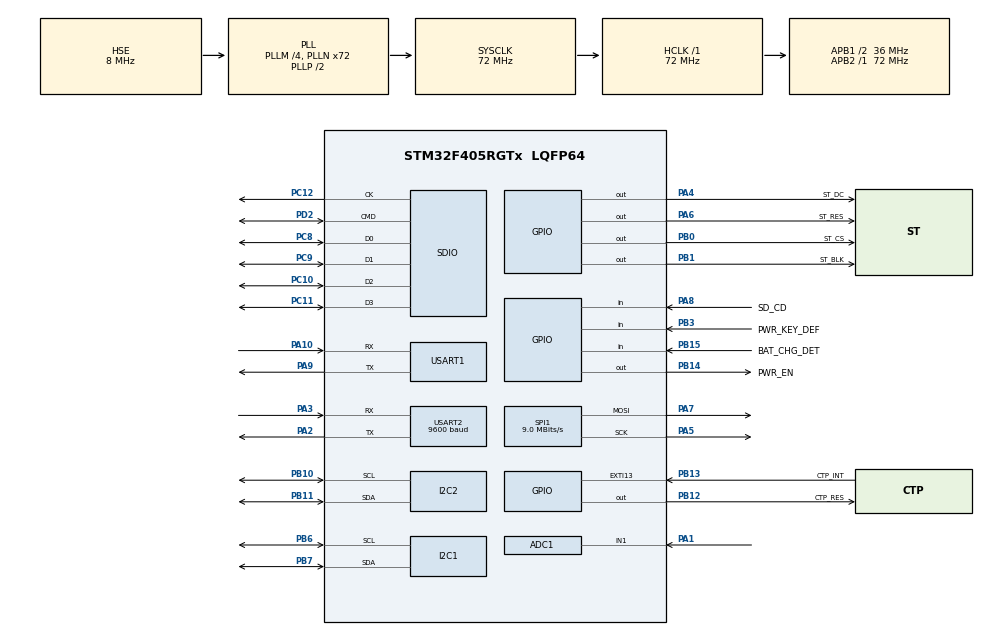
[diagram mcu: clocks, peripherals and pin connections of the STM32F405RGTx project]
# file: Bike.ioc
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ADC1.Channel-0\#ChannelRegularConversion=ADC_CHANNEL_1
ADC1.ContinuousConvMode=ENABLE
ADC1.NbrOfConversionFlag=1
ADC1.Rank-0\#ChannelRegularConversion=1
ADC1.SamplingTime-0\#ChannelRegularConversion=ADC_SAMPLETIME_15CYCLES
ADC1.master=1
Dma.Request0=SPI1_TX
Dma.Request1=SDIO
Dma.SDIO.1.Direction=DMA_PERIPH_TO_MEMORY
Dma.SDIO.1.FIFOMode=DMA_FIFOMODE_ENABLE
Dma.SDIO.1.FIFOThreshold=DMA_FIFO_THRESHOLD_FULL
Dma.SDIO.1.Instance=DMA2_Stream6
Dma.SDIO.1.MemBurst=DMA_MBURST_INC4
Dma.SDIO.1.MemDataAlignment=DMA_MDATAALIGN_WORD
Dma.SDIO.1.MemInc=DMA_MINC_ENABLE
Dma.SDIO.1.Mode=DMA_PFCTRL
Dma.SDIO.1.PeriphBurst=DMA_PBURST_INC4
Dma.SDIO.1.PeriphDataAlignment=DMA_PDATAALIGN_WORD
Dma.SDIO.1.PeriphInc=DMA_PINC_DISABLE
Dma.SDIO.1.Priority=DMA_PRIORITY_LOW
Dma.SPI1_TX.0.Direction=DMA_MEMORY_TO_PERIPH
Dma.SPI1_TX.0.FIFOMode=DMA_FIFOMODE_DISABLE
Dma.SPI1_TX.0.Instance=DMA2_Stream3
Dma.SPI1_TX.0.MemDataAlignment=DMA_MDATAALIGN_HALFWORD
Dma.SPI1_TX.0.MemInc=DMA_MINC_ENABLE
Dma.SPI1_TX.0.Mode=DMA_NORMAL
Dma.SPI1_TX.0.PeriphDataAlignment=DMA_PDATAALIGN_HALFWORD
Dma.SPI1_TX.0.PeriphInc=DMA_PINC_DISABLE
Dma.SPI1_TX.0.Priority=DMA_PRIORITY_LOW
FATFS.BSP.number=1
FATFS0.BSP.STBoard=false
FATFS0.BSP.api=Unknown
FATFS0.BSP.instance=PA8
FATFS0.BSP.ip=GPIO
FATFS0.BSP.mode=Input
FATFS0.BSP.name=Detect_SDIO
FATFS0.BSP.solution=PA8
FREERTOS.Tasks01=mainTask,24,4096,MainTaskFunc,Default,NULL,Dynamic,NULL,NULL;powerTask,8,256,PowerTaskFunc,Default,NULL,Dynamic,NULL,NULL;gpsTask,16,512,GPSTaskFunc,Default,NULL,Dynamic,NULL,NULL;slopeTask,15,256,slopeTaskFunc,Default,NULL,Dynamic,NULL,NULL
FREERTOS.configTOTAL_HEAP_SIZE=40960
I2C1.I2C_Mode=I2C_Fast
I2C2.I2C_Mode=I2C_Fast
Mcu.Family=STM32F4
Mcu.Name=STM32F405RGTx
Mcu.Package=LQFP64
NVIC.DMA2_Stream3_IRQn=true\:5\:0\:false\:false\:true\:true\:false\:true\:true
NVIC.DMA2_Stream6_IRQn=true\:5\:0\:false\:false\:true\:true\:false\:true\:true
NVIC.EXTI15_10_IRQn=true\:5\:0\:false\:false\:true\:true\:true\:true\:true
NVIC.PriorityGroup=NVIC_PRIORITYGROUP_4
NVIC.TIM7_IRQn=true\:15\:0\:false\:false\:true\:false\:false\:true\:true
NVIC.TimeBase=TIM7_IRQn
NVIC.TimeBaseIP=TIM7
NVIC.USART2_IRQn=true\:5\:0\:false\:false\:true\:true\:true\:true\:true
PA1.Signal=ADCx_IN1
PA10.Mode=Asynchronous
PA10.Signal=USART1_RX
PA13.Mode=Serial_Wire
PA13.Signal=SYS_JTMS-SWDIO
PA14.Mode=Serial_Wire
PA14.Signal=SYS_JTCK-SWCLK
PA2.Mode=Asynchronous
PA2.Signal=USART2_TX
PA3.Mode=Asynchronous
PA3.Signal=USART2_RX
PA4.GPIO_Label=ST_DC
PA4.GPIO_Speed=GPIO_SPEED_FREQ_HIGH
PA4.Signal=GPIO_Output
PA5.Mode=TX_Only_Simplex_Unidirect_Master
PA5.Signal=SPI1_SCK
PA6.GPIO_Label=ST_RES
PA6.GPIO_Speed=GPIO_SPEED_FREQ_HIGH
PA6.PinState=GPIO_PIN_SET
PA6.Signal=GPIO_Output
PA7.Mode=TX_Only_Simplex_Unidirect_Master
PA7.Signal=SPI1_MOSI
PA8.GPIO_Label=SD_CD
PA8.GPIO_PuPd=GPIO_PULLUP
PA8.Signal=GPIO_Input
PA9.Mode=Asynchronous
PA9.Signal=USART1_TX
PB0.GPIO_Label=ST_CS
PB0.GPIO_Speed=GPIO_SPEED_FREQ_HIGH
PB0.PinState=GPIO_PIN_SET
PB0.Signal=GPIO_Output
PB1.GPIO_Label=ST_BLK
PB1.GPIO_Speed=GPIO_SPEED_FREQ_HIGH
PB1.PinState=GPIO_PIN_SET
PB1.Signal=GPIO_Output
PB10.Mode=I2C
PB10.Signal=I2C2_SCL
PB11.Mode=I2C
PB11.Signal=I2C2_SDA
PB12.GPIO_Label=CTP_RES
PB12.GPIO_Speed=GPIO_SPEED_FREQ_HIGH
PB12.PinState=GPIO_PIN_SET
PB12.Signal=GPIO_Output
PB13.GPIO_Label=CTP_INT
PB13.GPIO_PuPd=GPIO_PULLDOWN
PB13.Signal=GPXTI13
PB14.GPIO_Label=PWR_EN
PB14.GPIO_Speed=GPIO_SPEED_FREQ_HIGH
PB14.PinState=GPIO_PIN_SET
PB14.Signal=GPIO_Output
PB15.GPIO_Label=BAT_CHG_DET
PB15.GPIO_PuPd=GPIO_PULLUP
PB15.Signal=GPIO_Input
PB3.GPIO_Label=PWR_KEY_DEF
PB3.GPIO_PuPd=GPIO_PULLUP
PB3.Signal=GPIO_Input
PB6.Mode=I2C
PB6.Signal=I2C1_SCL
PB7.Mode=I2C
PB7.Signal=I2C1_SDA
PC10.Mode=SD_4_bits_Wide_bus
PC10.Signal=SDIO_D2
PC11.Mode=SD_4_bits_Wide_bus
PC11.Signal=SDIO_D3
PC12.Mode=SD_4_bits_Wide_bus
PC12.Signal=SDIO_CK
PC14-OSC32_IN.Mode=LSE-External-Oscillator
PC14-OSC32_IN.Signal=RCC_OSC32_IN
PC15-OSC32_OUT.Mode=LSE-External-Oscillator
PC15-OSC32_OUT.Signal=RCC_OSC32_OUT
PC8.Mode=SD_4_bits_Wide_bus
PC8.Signal=SDIO_D0
PC9.Mode=SD_4_bits_Wide_bus
PC9.Signal=SDIO_D1
PD2.Mode=SD_4_bits_Wide_bus
PD2.Signal=SDIO_CMD
PH0-OSC_IN.Mode=HSE-External-Oscillator
PH0-OSC_IN.Signal=RCC_OSC_IN
PH1-OSC_OUT.Mode=HSE-External-Oscillator
PH1-OSC_OUT.Signal=RCC_OSC_OUT
ProjectManager.HeapSize=0x3000
ProjectManager.StackSize=0x4000
ProjectManager.TargetToolchain=MDK-ARM V5.32
RCC.48MHZClocksFreq_Value=48000000
RCC.AHBFreq_Value=72000000
RCC.APB1CLKDivider=RCC_HCLK_DIV2
RCC.APB1Freq_Value=36000000
RCC.APB1TimFreq_Value=72000000
RCC.APB2Freq_Value=72000000
RCC.APB2TimFreq_Value=72000000
RCC.CortexFreq_Value=72000000
RCC.HCLKFreq_Value=72000000
RCC.HSE_VALUE=8000000
RCC.HSI_VALUE=16000000
RCC.PLLM=4
RCC.PLLN=72
RCC.PLLQ=3
RCC.PLLSourceVirtual=RCC_PLLSOURCE_HSE
RCC.SYSCLKFreq_VALUE=72000000
RCC.SYSCLKSource=RCC_SYSCLKSOURCE_PLLCLK
RCC.VCOOutputFreq_Value=144000000
SDIO.ClockDiv=6
SDIO.HardwareFlowControl=SDIO_HARDWARE_FLOW_CONTROL_ENABLE
SH.ADCx_IN1.0=ADC1_IN1,IN1
SPI1.BaudRatePrescaler=SPI_BAUDRATEPRESCALER_8
SPI1.CalculateBaudRate=9.0 MBits/s
SPI1.Direction=SPI_DIRECTION_2LINES
SPI1.Mode=SPI_MODE_MASTER
SPI1.VirtualType=VM_MASTER
USART1.VirtualMode=VM_ASYNC
USART2.BaudRate=9600
USART2.VirtualMode=VM_ASYNC
VP_FATFS_VS_SDIO.Mode=SDIO
VP_FREERTOS_VS_CMSIS_V2.Mode=CMSIS_V2
VP_SYS_VS_tim7.Mode=TIM7
board=custom

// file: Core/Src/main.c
/* USER CODE BEGIN Header */
/**
  ******************************************************************************
  * @file           : main.c
  * @brief          : Main program body
  ******************************************************************************
  * @attention
  *
  * Copyright (c) 2026 STMicroelectronics.
  * All rights reserved.
  *
  * This software is licensed under terms that can be found in the LICENSE file
  * in the root directory of this software component.
  * If no LICENSE file comes with this software, it is provided AS-IS.
  *
  ******************************************************************************
  */
/* USER CODE END Header */
#include "main.h"
#include "cmsis_os.h"
#include "adc.h"
#include "dma.h"
#include "fatfs.h"
#include "i2c.h"
#include "sdio.h"
#include "spi.h"
#include "usart.h"
#include "gpio.h"

void SystemClock_Config(void);
void MX_FREERTOS_Init(void);

int main(void)
{

  /* MCU Configuration--------------------------------------------------------*/

  /* Reset of all peripherals, Initializes the Flash interface and the Systick. */
  HAL_Init();

  /* Configure the system clock */
  SystemClock_Config();

  /* Initialize all configured peripherals */
  MX_GPIO_Init();
  MX_DMA_Init();
  MX_USART1_UART_Init();
  MX_I2C2_Init();
  MX_SPI1_Init();
  MX_SDIO_SD_Init();
  MX_FATFS_Init();
  MX_ADC1_Init();
  MX_USART2_UART_Init();
  MX_I2C1_Init();

  /* Init scheduler */
  osKernelInitialize();  /* Call init function for freertos objects (in cmsis_os2.c) */
  MX_FREERTOS_Init();

  /* Start scheduler */
  osKernelStart();

  /* We should never get here as control is now taken by the scheduler */

  /* Infinite loop */
  while (1)
  {

  }
}

void SystemClock_Config(void)
{
  RCC_OscInitTypeDef RCC_OscInitStruct = {0};
  RCC_ClkInitTypeDef RCC_ClkInitStruct = {0};

  /** Configure the main internal regulator output voltage
  */
  __HAL_RCC_PWR_CLK_ENABLE();
  __HAL_PWR_VOLTAGESCALING_CONFIG(PWR_REGULATOR_VOLTAGE_SCALE1);

  /** Initializes the RCC Oscillators according to the specified parameters
  * in the RCC_OscInitTypeDef structure.
  */
  RCC_OscInitStruct.OscillatorType = RCC_OSCILLATORTYPE_HSE;
  RCC_OscInitStruct.HSEState = RCC_HSE_ON;
  RCC_OscInitStruct.PLL.PLLState = RCC_PLL_ON;
  RCC_OscInitStruct.PLL.PLLSource = RCC_PLLSOURCE_HSE;
  RCC_OscInitStruct.PLL.PLLM = 4;
  RCC_OscInitStruct.PLL.PLLN = 72;
  RCC_OscInitStruct.PLL.PLLP = RCC_PLLP_DIV2;
  RCC_OscInitStruct.PLL.PLLQ = 3;
  if (HAL_RCC_OscConfig(&RCC_OscInitStruct) != HAL_OK)
  {
    Error_Handler();
  }

  /** Initializes the CPU, AHB and APB buses clocks
  */
  RCC_ClkInitStruct.ClockType = RCC_CLOCKTYPE_HCLK|RCC_CLOCKTYPE_SYSCLK
                              |RCC_CLOCKTYPE_PCLK1|RCC_CLOCKTYPE_PCLK2;
  RCC_ClkInitStruct.SYSCLKSource = RCC_SYSCLKSOURCE_PLLCLK;
  RCC_ClkInitStruct.AHBCLKDivider = RCC_SYSCLK_DIV1;
  RCC_ClkInitStruct.APB1CLKDivider = RCC_HCLK_DIV2;
  RCC_ClkInitStruct.APB2CLKDivider = RCC_HCLK_DIV1;

  if (HAL_RCC_ClockConfig(&RCC_ClkInitStruct, FLASH_LATENCY_2) != HAL_OK)
  {
    Error_Handler();
  }
}

void HAL_TIM_PeriodElapsedCallback(TIM_HandleTypeDef *htim)
{
  if (htim->Instance == TIM7)
  {
    HAL_IncTick();
  }
}

void Error_Handler(void)
{
  __disable_irq();
  while (1)
  {
  }
}

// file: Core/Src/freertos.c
/* USER CODE BEGIN Header */
/**
 ******************************************************************************
 * File Name          : freertos.c
 * Description        : Code for freertos applications
 ******************************************************************************
 * @attention
 *
 * Copyright (c) 2026 STMicroelectronics.
 * All rights reserved.
 *
 * This software is licensed under terms that can be found in the LICENSE file
 * in the root directory of this software component.
 * If no LICENSE file comes with this software, it is provided AS-IS.
 *
 ******************************************************************************
 */
/* USER CODE END Header */

#include "FreeRTOS.h"
#include "task.h"
#include "main.h"
#include "cmsis_os.h"

/* USER CODE BEGIN Includes */
#include "Com_Debug.h"
#include "Int_CST6189.h"
#include "lvgl.h"
#include "lv_port_disp.h"
#include "lv_port_indev.h"
// #include "demos/lv_demos.h"
#include "ui.h"
#include "fatfs.h"
#include "Int_Power.h"
#include "Int_ATGM336H.h"
#include "Int_LSM6DSM.h"

/* USER CODE END Includes */

/* USER CODE BEGIN PD */
bool charge = false;
float v = 0.0f;

/**
 * @brief 更新lvgl的电池电量图标
 *
 * @param args
 */
void update_battery_callback(void *args)
{
  ui_updateBattery(charge, v);
}

// 卫星个数
uint8_t saleNum = 0;
// 存储经纬度数据信息
float lon = 0.0f, lat = 0.0f;
char lonDir = 0, latDir = 0;
// 存储速度信息
float speed = 0.0f, distance = 0.0f;
// 骑行时间
int time = 0;

/**
 * @brief 更新lvgl的骑行数据
 *
 * @param args
 */
void update_bike_cb(void *args)
{
  // 更新卫星个数
  lv_subject_set_int(&saleNumSubject, saleNum);

  // 更新骑行速度
  lv_subject_set_float(&speedSubject, speed);

  // 更新骑行距离
  lv_subject_set_float(&distanceSubject, distance);

  // 更新经纬度
  lv_subject_set_float(&lonSubject, lon);
  lv_subject_set_float(&latSubject, lat);

  // 骑行时间
  char timestr[9] = {0};
  sprintf(timestr, "%d : %d", time / 60, time % 60);
  lv_subject_copy_string(&timeSubject, timestr);

  // 更新运动状态
  ui_updateBikeState(speed);

  // 根据经纬度更新用户地图中的位置【考试】
  ui_updateLocation(lat, lon);
}

// 坡度百分比
float slope_percentage = 0.0f;
/**
 * @brief 更新坡度
 *
 * @param args
 */
void update_slope(void *args)
{
  // 把当前计算出来的坡度值 slope_percentage 写入 LVGL 的 subject 数据源 slopeSubject
  lv_subject_set_float(&slopeSubject, slope_percentage);
}

/* USER CODE END PD */

/* Definitions for mainTask */
osThreadId_t mainTaskHandle;
const osThreadAttr_t mainTask_attributes = {
    .name = "mainTask",
    .stack_size = 4096 * 4,
    .priority = (osPriority_t)osPriorityNormal,
};
/* Definitions for powerTask */
osThreadId_t powerTaskHandle;
const osThreadAttr_t powerTask_attributes = {
    .name = "powerTask",
    .stack_size = 256 * 4,
    .priority = (osPriority_t)osPriorityLow,
};
/* Definitions for gpsTask */
osThreadId_t gpsTaskHandle;
const osThreadAttr_t gpsTask_attributes = {
    .name = "gpsTask",
    .stack_size = 512 * 4,
    .priority = (osPriority_t)osPriorityBelowNormal,
};
/* Definitions for slopeTask */
osThreadId_t slopeTaskHandle;
const osThreadAttr_t slopeTask_attributes = {
    .name = "slopeTask",
    .stack_size = 256 * 4,
    .priority = (osPriority_t)osPriorityLow7,
};

void MainTaskFunc(void *argument);
void PowerTaskFunc(void *argument);
void GPSTaskFunc(void *argument);
void slopeTaskFunc(void *argument);

void MX_FREERTOS_Init(void); /* (MISRA C 2004 rule 8.1) */

void MX_FREERTOS_Init(void)
{

  /* Create the thread(s) */
  /* creation of mainTask */
  mainTaskHandle = osThreadNew(MainTaskFunc, NULL, &mainTask_attributes);

  /* creation of powerTask */
  powerTaskHandle = osThreadNew(PowerTaskFunc, NULL, &powerTask_attributes);

  /* creation of gpsTask */
  gpsTaskHandle = osThreadNew(GPSTaskFunc, NULL, &gpsTask_attributes);

  /* creation of slopeTask */
  slopeTaskHandle = osThreadNew(slopeTaskFunc, NULL, &slopeTask_attributes);

}

void MainTaskFunc(void *argument)
{
  /* USER CODE BEGIN MainTaskFunc */
  /* Infinite loop */

  // 挂载文件系统
  FRESULT mount_res = f_mount(&SDFatFS, SDPath, 1);
  COM_DEBUG_LN("f_mount(%s) = %d", SDPath, mount_res);

  // 1. 初始化LVGL
  lv_init();

  // 设置获取当前时间回调
  lv_tick_set_cb(xTaskGetTickCount);
  // 设置延时回调
  lv_delay_set_cb(vTaskDelay);

  // 2. 初始化输入，显示设备
  lv_port_disp_init();
  lv_port_indev_init();

  // 3. 创建UI
  // lv_demo_widgets();
  ui_create();

  // uint16_t x = 0, y = 0;
  for (;;)
  {
    // if (Int_CST816D_IsPressed())
    // {
    //   Int_CST816D_GetXY(&x, &y);
    //   COM_DEBUG_LN("x == %d, y == %d", x, y);
    // }

    // 下一次循环等待的时间
    uint32_t tm = lv_timer_handler();
    if (tm < 5)
    {
      tm = 5;
    }

    osDelay(tm);
  }
  /* USER CODE END MainTaskFunc */
}

void PowerTaskFunc(void *argument)
{
  /* USER CODE BEGIN PowerTaskFunc */
  /* Infinite loop */
  Int_Power_Init();

  for (;;)
  {
    // 等待电源按键按下
    if (Int_Power_PowerKeyIsPressed())
    {
      // 关闭电源
      Int_Power_PowerOFF();
    }

    // 判断电池是否在充电
    charge = Int_Power_IsCharge();
    // 获取电池电压值
    v = Int_Power_GetV();

    // 采用异步更新，放置多个任务同时对lvgl操作引发的线程不安全问题
    lv_async_call(update_battery_callback, NULL);

    // COM_DEBUG_LN("charge == %d, v == %f", charge ? 1 : 0, v);

    osDelay(10);
  }
  /* USER CODE END PowerTaskFunc */
}

void GPSTaskFunc(void *argument)
{
  /* USER CODE BEGIN GPSTaskFunc */
  /* Infinite loop */

  // 存储GPS接收到的数据
  char *str = NULL;
  // 存储经纬度数据是否有效
  char activityFlag = 0;

  Int_ATGM336H_Init();

  // 上一次时间记录
  TickType_t lastTime = xTaskGetTickCount(), currentTime = 0;
  for (;;)
  {
    if (gps_sizes > 0)
    {
      // COM_DEBUG_LN("gps_len: %d", gps_sizes);
      // COM_DEBUG_LN("gps_data: %s", gps_buffers);

      // 解析卫星个数
      str = strstr((char *)gps_buffers, "GNGGA");
      if (str != NULL)
      {
        // $GNGGA,070822.000,4006.81888,N,11621.89413,E,1,05,25.5,30.2,M,-9.6,M,,*58
        sscanf(str, "%*[^,],%*[^,],%*[^,],%*[^,],%*[^,],%*[^,],%*[^,],%hhu", &saleNum);
        // COM_DEBUG_LN("num = %hhu", saleNum);
      }

      str = strstr((char *)gps_buffers, "GNRMC");
      if (str != NULL)
      {
        // 解析数据状态
        sscanf(str, "%*[^AV]%c", &activityFlag);
        COM_DEBUG_LN("[[%c]]", activityFlag);

        if (activityFlag == 'A')
        {
          // 有效数据，解析经纬度，经纬度方向，速度
          // $GNRMC,070822.000,A,4006.81888,N,11621.89413,E,0.81,359.02,020624,,,A,V*02
          sscanf(str, "%*[^A]A,%f,%c,%f,%c,%f", &lat, &latDir, &lon, &lonDir, &speed);

          // 将经纬度格式转化为°格式
          // 维度xxyy.yyy xx代表° yy.yyy代表′ 需要转化zz.ppp°
          lat = (int16_t)lat / 100 + (lat - ((int16_t)lat / 100) * 100) / 60;
          // 经度xxxyy.yyy xxx代表° yy.yyy代表′ 需要转化zzz.ppp°
          lon = (int16_t)lon / 100 + (lon - ((int16_t)lon / 100) * 100) / 60;

          // 南维和西经是负值
          if (latDir == 'S')
          {
            lat = -lat;
          }
          if (lonDir == 'W')
          {
            lon = -lon;
          }

          // 固定测试位置：深圳西部硅谷。
          // 这里直接使用用户取点坐标，避免再次转换后红点向右下偏移。
          lat = 22.626121f;
          lon = 113.837692f;

          // 实测当前离线瓦片与该取点坐标直接匹配，不再二次转换。
          // gps_to_gcj02(lat, lon, &lat, &lon);

          // 转换速度的单位
          speed *= 1.852f;

          // 获取当前时间
          currentTime = xTaskGetTickCount();
          // 一轮的骑行时间
          uint32_t sec = (currentTime - lastTime) / 1000;
          // 一轮的骑行里程
          distance += speed * (sec * 1.0 / 3600);
          // 总的骑行时间（s）
          time += sec;
          // 更新上一次时间
          lastTime = currentTime;

          // COM_DEBUG_LN("lon = %f, lonDir = %c, lat = %f, latDir = %c, speed = %f, distance = %f, time = %d", lon, lonDir, lat, latDir, speed, distance, time);
          // 更新数据到lvgl
          lv_async_call(update_bike_cb, NULL);
        }
      }

      // gps_sizes = 0;
    }

    osDelay(1000);
  }
  /* USER CODE END GPSTaskFunc */
}

void slopeTaskFunc(void *argument)
{
  /* USER CODE BEGIN slopeTaskFunc */
  /* Infinite loop */

  Int_LSM6DSM_Init();

  for (;;)
  {
    Int_LSM6DSM_GetAccGyro();

    // 计算出弧度
    float angle = atan2f(-accgyro.acc_y, -accgyro.acc_z);

    // 计算出坡度角
    float angle_deg = angle * 180.0f / 3.1415f;

    // 计算出坡度
    slope_percentage = tanf(angle_deg * 3.1415f / 180.0f) * 100.0f;
    COM_DEBUG_LN("angle_deg = %f slope_percentage = %f", angle_deg, slope_percentage);

    // 更新坡度
    lv_async_call(update_slope, NULL);

    // COM_DEBUG_LN("accX = %d accY = %d accZ = %d gyroX = %d gyroY = %d gyroZ = %d", accgyro.acc_x, accgyro.acc_y, accgyro.acc_z, accgyro.gyro_x, accgyro.gyro_y, accgyro.gyro_z);

    osDelay(20);
  }
  /* USER CODE END slopeTaskFunc */
}
